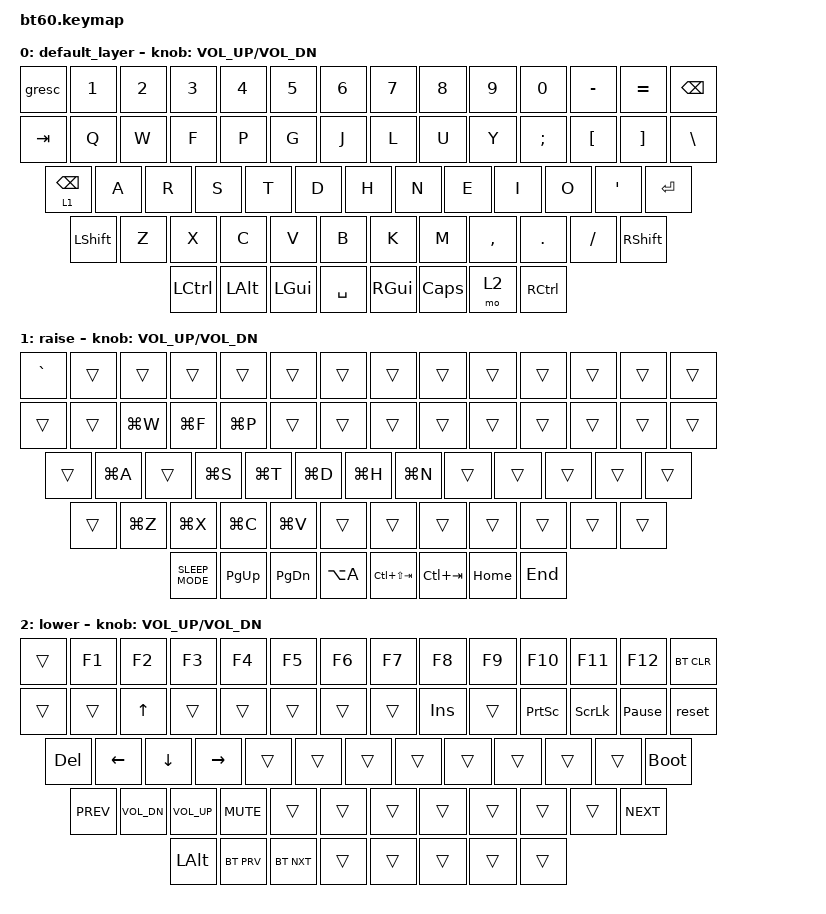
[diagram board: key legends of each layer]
#include <behaviors.dtsi>
#include <dt-bindings/zmk/keys.h>
#include <dt-bindings/zmk/bt.h>

/ {
	keymap {
		compatible = "zmk,keymap";

		default_layer {
				// ------------------------------------------------------------------------------------------
				// | GSC  |  1  |  2  |  3  |  4  |  5  |  6  |  7  |  8  |  9  |  0  |  -  |  =  |   BKSP   |
				// | TAB  |  Q  |  W  |  F  |  P  |  G  |  J  |  L  |  U  |  Y  |  ;  |  [  |  ]  |   |    |
				// | LT1BK|  A  |  R  |  S  |  T  |  D  |  H  |  N  |  E  |  I  |  O  |  '  |     ENTER    |
				// |  SHIFT    |  Z  |  X  |  C  |  V  |  B  |  K  |  M  |  ,  |  .  | /    |      SHIFT     |
				// |  CTL  |  ALT  |  CMD  |            SPACE               | CMD | EMO  |  LT2   |  CTL   |
				// ------------------------------------------------------------------------------------------
			bindings = <
				&gresc &kp N1 &kp N2 &kp N3 &kp N4 &kp N5 &kp N6 &kp N7 &kp  N8   &kp  N9 &kp  N0  &kp MINUS &kp EQUAL &kp BSPC
				&kp TAB  &kp Q  &kp W  &kp F  &kp P  &kp G  &kp J  &kp L  &kp  U    &kp  Y  &kp  SEMI   &kp LBKT &kp RBKT  &kp BSLH
				&lt 1 BSPC  &kp A  &kp R  &kp S  &kp T  &kp D  &kp H  &kp N  &kp  E    &kp  I  &kp O &kp SQT           &kp RET
				&kp LSHFT  &kp Z  &kp X  &kp C  &kp V  &kp B  &kp K  &kp M  &kp COMMA &kp DOT &kp FSLH             &kp RSHFT
				&kp LCTRL &kp LALT &kp LGUI            &kp SPACE                      &kp RGUI  &kp CLCK  &mo 2  &kp RCTRL
			>;
			sensor-bindings = <&inc_dec_kp C_VOL_UP C_VOL_DN>;
		};
		raise {
				// ------------------------------------------------------------------------------------------
				// | ~   | tr   |  tr  |  tr  |  tr  |  tr  |  tr  | tr   | tr   |  tr  |  tr    |  tr   |  tr    |   tr   |
				// | tr  |  G(W)  |  G(F)  |  G(P)  |  tr  |  tr  |  tr  | tr	  | tr  |  tr  |  tr  |  tr  |  tr  |   tr    |
				// | tr  |  G(A)  |  R  | G(S)   |  G(T)  |  G(H)  |  G(N)  | tr   | tr   |  tr  |  tr   |  tr    |     tr    |
				// |  tr    |  G(Z)  |  G(X)  |  G(C)  |  G(V)  |  tr  |  tr  | tr   |  tr  |  tr    | tr     |    tr    |
				// |  SLP  |  PGUP  | PGDN |            A(A)           | C(SH(TAB)   |  C(TAB)  |  HOME     |  END    |
				// ------------------------------------------------------------------------------------------
		
			bindings = <
				&kp GRAVE &trans &trans &trans &trans &trans &trans &trans &trans   &trans &trans  &trans &trans   &trans
				&trans &trans &kp LG(W) &kp LG(F) &kp LG(P) &trans &trans &trans &trans &trans &trans &trans &trans &trans
				&trans    &kp LG(A) &trans &kp LG(S) &kp LG(T) &kp LG(D) &kp LG(H) &kp LG(N) &trans &trans &trans  &trans   &trans
				&trans &kp LG(Z) &kp LG(X) &kp LG(C) &kp LG(V) &trans &trans &trans &trans &trans &trans  &trans
				&kp C_SLEEP_MODE &kp PG_UP  &kp PG_DN             &kp LA(A)                   &kp LC(LS(TAB))   &kp LC(TAB)  &kp HOME &kp END
			>;
			sensor-bindings = <&inc_dec_kp C_VOL_UP C_VOL_DN>;
		};
		lower {
				// ------------------------------------------------------------------------------------------
				// | tr  | F1   |  F2  |  F3  |  F4  |  F5  |  F6  | F7   | F8   |  F9  |  F10    |  F11   |  F12    |   BTCLR   |
				// | tr  |  tr  |  UP  |  tr  |  tr  |  tr  |  tr  | tr	  | INS  |  tr  |  PSCRN  |  SLCK  |  PAUSE  |   RESET    |
				// | DEL  |  LT  |  DN  | RT   |  tr  |  tr  |  tr  | tr   | tr   |  tr  |  tr   |  tr    |     BOOT    |
				// |  PREV    |  VDN  |  VUP  |  MT  |  tr  |  tr  |  tr  | tr   |  tr  |  tr    | tr     |    NEXT    |
				// |  ALT |  BTPRV  | BTNXT |            tr           | tr   |  tr  |  tr     |   tr    |
				// ------------------------------------------------------------------------------------------
		
			bindings = <
				&trans &kp F1 &kp F2 &kp F3 &kp F4 &kp F5 &kp F6 &kp F7 &kp  F8   &kp  F9 &kp  F10  &kp F11 &kp F12   &bt BT_CLR
				&trans &trans &kp UP &trans &trans &trans &trans &trans &kp INS &trans &kp PSCRN &kp SLCK &kp PAUSE_BREAK &reset
				&kp DEL    &kp LEFT &kp DOWN &kp RIGHT &trans &trans &trans &trans &trans &trans &trans  &trans   &bootloader
				&kp C_PREV &kp C_VOL_DN &kp C_VOL_UP &kp C_MUTE &trans &trans &trans &trans &trans &trans &trans  &kp C_NEXT
				&kp LALT  &bt BT_PRV &bt BT_NXT               &trans                  &trans   &trans  &trans &trans
			>;
			sensor-bindings = <&inc_dec_kp C_VOL_UP C_VOL_DN>;
		};
	};
};
